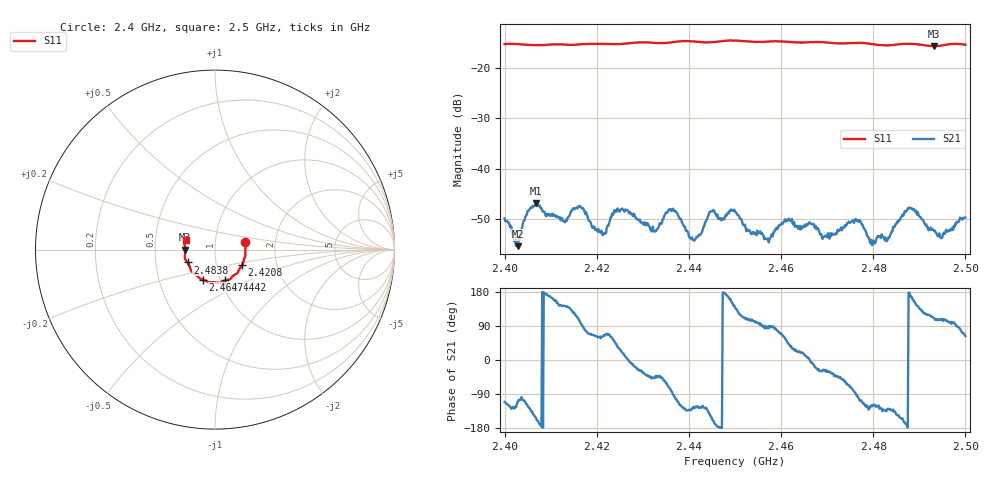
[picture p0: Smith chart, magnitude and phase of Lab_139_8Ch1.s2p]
# Hz S RI R 50
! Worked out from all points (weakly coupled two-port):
!   601 points, 2.4 GHz to 2.5 GHz, reference 50 ohm
!   highest |S21| = -46.93 dB at 2.4068 GHz (marker M1); lowest = -55.4 dB at 2.4028 GHz (marker M2)
!   lowest |S11| = -15.6 dB at 2.4932 GHz (marker M3), VSWR 1.40, Z = 35.8 - j0.083 ohm
!   |S11| at or under -10 dB: start of sweep to end of sweep
!   S12 and S22 are empty: the file has one direction only
!   S11 on the Smith chart (normalised r, x): 2.4 GHz: 1.40, +0.12; 2.4208 GHz: 1.33, -0.24; 2.4442 GHz: 1.05, -0.37; 2.4647 GHz: 0.83, -0.29; 2.4838 GHz: 0.73, -0.11; 2.5 GHz: 0.72, +0.08
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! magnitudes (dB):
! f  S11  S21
! 2.4 GHz  -15.2  -49.9
! 2.4028 GHz  -15.2  -55.4
! 2.4068 GHz  -15.4  -46.9
! 2.413 GHz  -15.3  -50.4
! 2.4167 GHz  -15.2  -47.8
! 2.4208 GHz  -15.2  -52.7
! 2.425 GHz  -15.2  -48.5
! 2.4333 GHz  -15.0  -51.7
! 2.4363 GHz  -14.9  -48.3
! 2.441 GHz  -14.7  -54.2
! 2.4442 GHz  -14.9  -49.4
! 2.45 GHz  -14.5  -48.5
! 2.4568 GHz  -14.7  -54.0
! 2.4612 GHz  -14.8  -50.1
! 2.4647 GHz  -14.9  -51.6
! 2.4667 GHz  -14.8  -51.0
! 2.4767 GHz  -15.0  -50.2
! 2.4833 GHz  -15.5  -53.6
! 2.4838 GHz  -15.4  -52.9
! 2.488 GHz  -15.2  -47.8
! 2.4932 GHz  -15.6  -52.4
! 2.5 GHz  -15.3  -49.7
